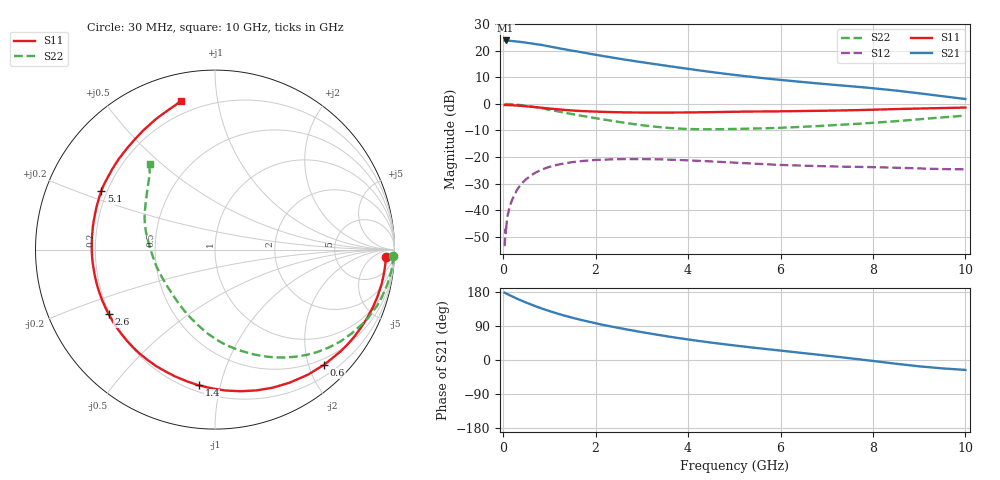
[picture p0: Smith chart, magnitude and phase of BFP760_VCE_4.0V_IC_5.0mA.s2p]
! Infineon Technologies  Discrete & RF Semiconductors
! BFP760
! VCE =  4.0 V,  IC =  5.0 mA
! Common Emitter S-Parameters:  Nov 2012
# GHz  S  MA  R  50
!  f  S11  S21  S12  S22
! GHz  MAG  ANG  MAG  ANG  MAG  ANG  MAG  ANG
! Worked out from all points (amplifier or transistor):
!   99 points, 30 MHz to 10 GHz, reference 50 ohm
!   highest |S21| = 23.9 dB at 50 MHz (marker M1)
!   |S21| within 3 dB of that: start of sweep to 1.227 GHz
!   unconditionally stable (mu >= 1): 6.204 GHz to end of sweep
!   at 350 MHz: K = 0.10, MSG = 27.2 dB, |S12| = -31.1 dB
!   at 3.5 GHz: K = 0.48, MSG = 17.7 dB, |S12| = -20.9 dB
!   at 10 GHz: K = 1.30, MAG = 9.9 dB, |S12| = -24.6 dB
!   S11 on the Smith chart (normalised r, x): 30 MHz: 22, -22; 600 MHz: 0.39, -2.27; 1.4 GHz: 0.24, -0.86; 2.6 GHz: 0.19, -0.27; 5.1 GHz: 0.18, +0.23; 10 GHz: 0.13, +0.79
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0.03  0.9548 -2.6  15.39 177.8  0.0021 70.9  0.9949 -2.0
0.05  0.9526 -4.1  15.61 176.3  0.0044 81.4  0.9928 -2.8
0.06  0.9523 -4.9  15.58 175.8  0.0037 76.4  0.9919 -3.3
0.08  0.9514 -6.5  15.55 174.6  0.0067 74.8  0.992 -4.5
0.15  0.947 -12.2  15.35 170.4  0.0124 80.2  0.986 -8.4
0.35  0.9226 -27.9  14.74 159.0  0.0279 71.6  0.9556 -19.1
0.45  0.9085 -35.4  14.36 153.8  0.0351 67.7  0.9339 -24.2
0.6  0.8842 -46.5  13.76 146.5  0.0449 61.3  0.8927 -31.6
0.8  0.8499 -60.8  12.98 137.4  0.0562 53.5  0.8365 -40.7
0.9  0.8338 -67.3  12.51 133.2  0.061 49.9  0.8061 -45.1
1.1  0.8021 -79.7  11.6 125.3  0.069 43.2  0.7462 -53.1
1.4  0.7618 -96.8  10.36 114.7  0.0778 34.7  0.6654 -63.8
1.7  0.7323 -112.4  9.345 105.3  0.0838 27.7  0.5953 -73.5
2.1  0.7103 -130.1  8.114 94.2  0.0888 19.4  0.5199 -85.9
2.6  0.6931 -148.8  6.873 82.3  0.0913 11.2  0.4439 -99.9
3  0.6866 -162.0  6.087 73.4  0.0913 5.6  0.3974 -111.5
3.4  0.6853 -173.8  5.409 65.4  0.0902 0.9  0.3641 -122.9
4.1  0.6924 169.3  4.442 52.5  0.0857 -5.7  0.3355 -142.4
5.1  0.7121 152.9  3.434 37.0  0.0776 -11.2  0.3389 -163.3
6.7  0.738 135.9  2.475 15.6  0.068 -12.4  0.3781 171.7
8.5  0.7981 114.4  1.78 -9.9  0.0629 -12.2  0.4721 144.6
10  0.8511 102.8  1.235 -26.2  0.0586 -8.1  0.6006 127.4
